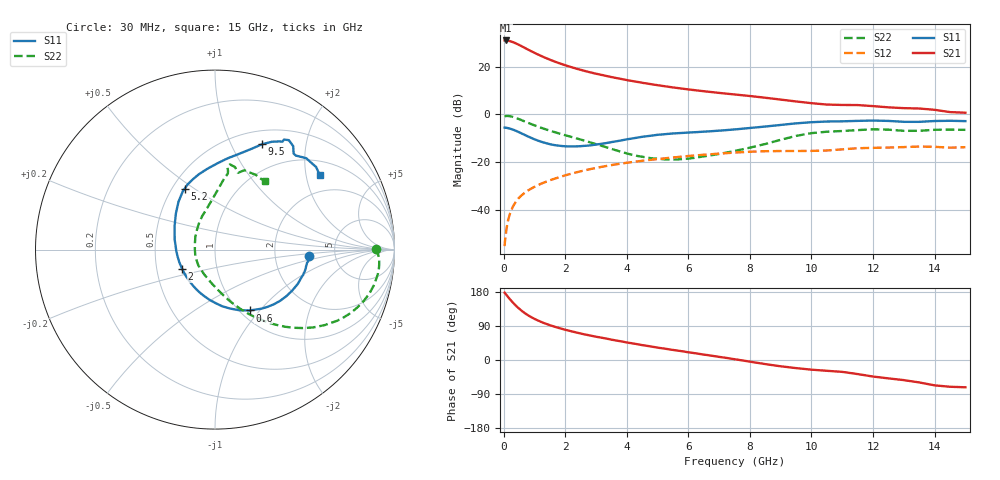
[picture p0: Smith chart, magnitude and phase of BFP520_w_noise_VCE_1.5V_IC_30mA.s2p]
! Infineon Technologies  Discrete & RF Semiconductors
! BFP520
! VCE =  1.5 V,  IC =  30 mA
! Common Emitter S-Parameters:  Oct 2015
# GHz  S  MA  R  50
!  f  S11  S21  S12  S22
! GHz  MAG  ANG  MAG  ANG  MAG  ANG  MAG  ANG
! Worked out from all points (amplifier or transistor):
!   109 points, 30 MHz to 15 GHz, reference 50 ohm
!   highest |S21| = 30.9 dB at 70 MHz (marker M1)
!   |S21| within 3 dB of that: start of sweep to 668.8 MHz
!   unconditionally stable (mu >= 1): start of sweep to 33.65 MHz; 2.361 GHz to end of sweep
!   at 450 MHz: K = 0.42, MSG = 32.6 dB, |S12| = -35.8 dB
!   at 4 GHz: K = 1.12, MAG = 15.2 dB, |S12| = -20.4 dB
!   at 15 GHz: K = 1.26, MAG = 4.2 dB, |S12| = -13.9 dB
!   lowest NFmin = 2.46 dB at 900 MHz
!   S11 on the Smith chart (normalised r, x): 30 MHz: 3.16, -0.30; 600 MHz: 1.11, -0.88; 2 GHz: 0.68, -0.15; 5.2 GHz: 0.58, +0.46; 9.5 GHz: 0.66, +1.32; 15 GHz: 1.42, +2.40
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0.03  0.523 -3.8  35.23 177.5  0.0017 105.1  0.8954 0.3
0.07  0.5177 -8.3  35.27 173.3  0.003 91.3  0.9145 -2.8
0.14  0.5113 -16.0  34.83 166.5  0.0058 84.6  0.918 -8.2
0.2  0.4992 -22.6  34.13 160.6  0.008 82.0  0.9079 -12.5
0.3  0.4751 -33.0  32.51 151.5  0.0115 78.0  0.8764 -19.1
0.35  0.4616 -38.2  31.55 147.2  0.0131 76.4  0.8557 -22.2
0.45  0.4328 -47.5  29.46 139.2  0.0162 73.5  0.8114 -27.7
0.6  0.3902 -60.4  26.35 128.9  0.0203 70.4  0.7414 -34.6
0.7  0.3631 -68.4  24.37 122.9  0.0229 68.8  0.697 -38.5
0.9  0.3174 -83.0  20.91 112.9  0.0276 66.4  0.6182 -44.8
1.2  0.2665 -102.8  16.87 101.1  0.0344 64.1  0.5237 -52.2
1.6  0.2276 -127.6  13.15 89.2  0.0432 61.6  0.4306 -59.9
2  0.2122 -149.7  10.65 79.8  0.0521 59.0  0.3623 -66.5
2.6  0.2161 -178.5  8.191 68.1  0.0655 54.6  0.2813 -76.2
3.5  0.2595 150.3  6.012 53.6  0.0855 46.6  0.1876 -96.1
5.1  0.374 117.8  3.972 31.5  0.1161 31.7  0.1147 -163.1
5.2  0.3789 116.5  3.888 30.3  0.1179 30.8  0.1132 -167.2
7.6  0.4854 87.4  2.556 0.9  0.1576 7.9  0.1745 120.0
9.5  0.6422 66.0  1.851 -21.4  0.1689 -10.7  0.3504 85.9
10.5  0.7019 59.2  1.593 -28.5  0.1731 -15.7  0.4289 80.4
13  0.6913 50.7  1.339 -53.1  0.2042 -36.9  0.4474 73.5
15  0.7156 35.3  1.074 -72.0  0.203 -53.3  0.4692 54.0
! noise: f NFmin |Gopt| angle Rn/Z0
0.45  2.47  0.05  -117  0.28
0.9  2.46  0.06  -118  0.32
1.9  2.61  0.11  -111  0.3
2.4  2.62  0.13  -109  0.3
3.5  2.57  0.15  -102  0.33
